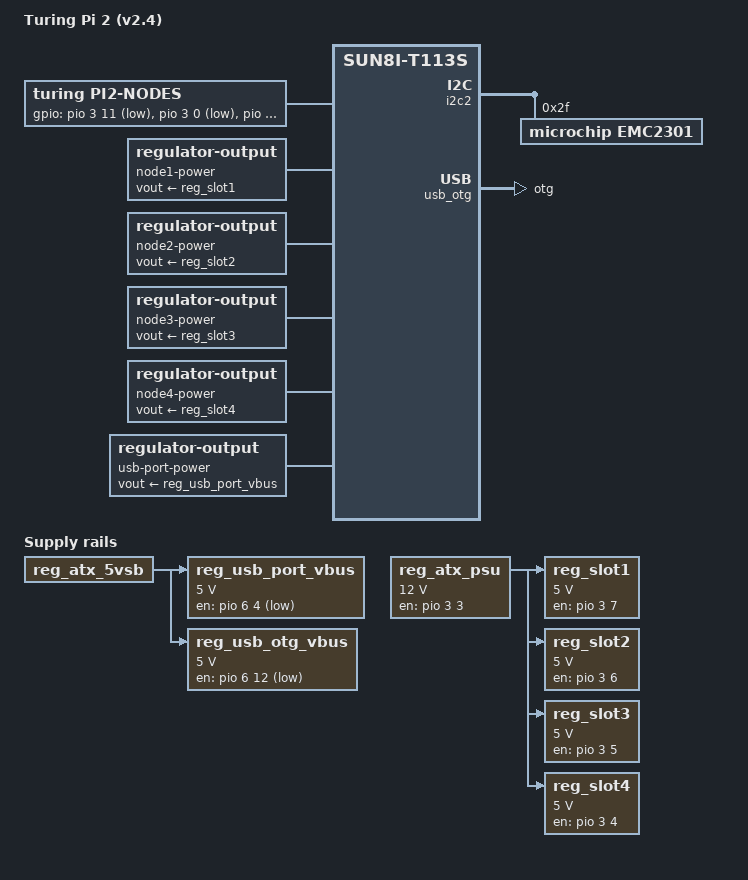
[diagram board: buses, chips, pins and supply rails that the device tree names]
// SPDX-License-Identifier: GPL-2.0+
// Copyright (C) 2024 Sam Edwards <CFSworks@gmail.com>

/dts-v1/;
#include "sun8i-t113s-turing-pi2.dtsi"

/ {
	model = "Turing Pi 2 (v2.4)";
	compatible = "turing,pi2", "allwinner,sun8i-t113s";

	chosen {
		stdout-path = "serial0:115200n8";
	};

	nodes {
		#gpio-cells = <2>;
		compatible = "turing,pi2-nodes";
		gpio-controller;

		gpios = <&pio 3 11 GPIO_ACTIVE_LOW>,	/* node 1 */
			<&pio 3  0 GPIO_ACTIVE_LOW>,	/* PD0  */
			<&pio 3 19 GPIO_ACTIVE_HIGH>,	/* PD19 */
			<&pio 3 15 GPIO_ACTIVE_LOW>,	/* PD15 */
			<&pio 3 10 GPIO_ACTIVE_LOW>,	/* node 2 */
			<&pio 3 20 GPIO_ACTIVE_LOW>,	/* PD20 */
			<&pio 3 18 GPIO_ACTIVE_HIGH>,	/* PD18 */
			<&pio 3 14 GPIO_ACTIVE_LOW>,	/* PD14 */
			<&pio 3  9 GPIO_ACTIVE_LOW>,	/* node 3 */
			<&pio 3 21 GPIO_ACTIVE_LOW>,	/* PD21 */
			<&pio 3 17 GPIO_ACTIVE_HIGH>,	/* PD17 */
			<&pio 3 12 GPIO_ACTIVE_LOW>,	/* PD12 */
			<&pio 3  8 GPIO_ACTIVE_LOW>,	/* node 4 */
			<&pio 3 22 GPIO_ACTIVE_LOW>,	/* PD22 */
			<&pio 3 16 GPIO_ACTIVE_HIGH>,	/* PD16 */
			<&pio 3 13 GPIO_ACTIVE_LOW>;	/* PD13 */

		gpio-line-names = "node1-en", "node1-rst",
				  "node1-usbotg-dev", "node1-rpiboot",
				  "node2-en", "node2-rst",
				  "node2-usbotg-dev", "node2-rpiboot",
				  "node3-en", "node3-rst",
				  "node3-usbotg-dev", "node3-rpiboot",
				  "node4-en", "node4-rst",
				  "node4-usbotg-dev", "node4-rpiboot";
	};

	reg_atx_psu: regulator-atx-psu {
		compatible = "regulator-fixed";

		regulator-name = "atx-psu";
		regulator-min-microvolt = <12000000>;
		regulator-max-microvolt = <12000000>;
		startup-delay-us = <250000>;

		gpio = <&pio 3 3 GPIO_ACTIVE_HIGH>;	/* PD3 */
		enable-active-high;
	};

	reg_slot1: regulator-slot1 {
		compatible = "regulator-fixed";

		regulator-name = "slot1";
		regulator-min-microvolt = <5000000>;
		regulator-max-microvolt = <5000000>;
		startup-delay-us = <100000>;

		gpio = <&pio 3 7 GPIO_ACTIVE_HIGH>;	/* PD7 */
		enable-active-high;

		vin-supply = <&reg_atx_psu>;
	};

	node1-power {
		compatible = "regulator-output";
		vout-supply = <&reg_slot1>;
	};

	reg_slot2: regulator-slot2 {
		compatible = "regulator-fixed";

		regulator-name = "slot2";
		regulator-min-microvolt = <5000000>;
		regulator-max-microvolt = <5000000>;
		startup-delay-us = <100000>;

		gpio = <&pio 3 6 GPIO_ACTIVE_HIGH>;	/* PD6 */
		enable-active-high;

		vin-supply = <&reg_atx_psu>;
	};

	node2-power {
		compatible = "regulator-output";
		vout-supply = <&reg_slot2>;
	};

	reg_slot3: regulator-slot3 {
		compatible = "regulator-fixed";

		regulator-name = "slot3";
		regulator-min-microvolt = <5000000>;
		regulator-max-microvolt = <5000000>;
		startup-delay-us = <100000>;

		gpio = <&pio 3 5 GPIO_ACTIVE_HIGH>;	/* PD5 */
		enable-active-high;

		vin-supply = <&reg_atx_psu>;
	};

	node3-power {
		compatible = "regulator-output";
		vout-supply = <&reg_slot3>;
	};

	reg_slot4: regulator-slot4 {
		compatible = "regulator-fixed";

		regulator-name = "slot4";
		regulator-min-microvolt = <5000000>;
		regulator-max-microvolt = <5000000>;
		startup-delay-us = <100000>;

		gpio = <&pio 3 4 GPIO_ACTIVE_HIGH>;	/* PD4 */
		enable-active-high;

		vin-supply = <&reg_atx_psu>;
	};

	node4-power {
		compatible = "regulator-output";
		vout-supply = <&reg_slot4>;
	};

	reg_usb_port_vbus: regulator-usb-port-vbus {
		compatible = "regulator-fixed";

		regulator-name = "usb-port-vbus";
		regulator-min-microvolt = <5000000>;
		regulator-max-microvolt = <5000000>;
		startup-delay-us = <5000>;

		gpio = <&pio 6 4 GPIO_ACTIVE_LOW>;	/* PG4 */

		vin-supply = <&reg_atx_5vsb>;
	};

	usb-port-power {
		compatible = "regulator-output";
		vout-supply = <&reg_usb_port_vbus>;
	};

	reg_usb_otg_vbus: regulator-usb-otg-vbus {
		compatible = "regulator-fixed";

		regulator-name = "usb-otg-vbus";
		regulator-min-microvolt = <5000000>;
		regulator-max-microvolt = <5000000>;
		startup-delay-us = <5000>;

		gpio = <&pio 6 12 GPIO_ACTIVE_LOW>;	/* PG12 */

		vin-supply = <&reg_atx_5vsb>;
	};
};

&i2c2 {
	/*
	 * The TP2 board design includes a 4-pin fan header (J16) and
	 * SMBus-compatible fan speed controller (U109). They are not populated
	 * on current production boards, but some users choose to solder on a
	 * Molex 47053-1000 and Microchip EMC2301, respectively, to gain this
	 * functionality. This node is here to enable probing for the EMC2301
	 * on boot, even though most boards lack it.
	 */
	emc2301@2f {
		status = "okay";
		compatible = "microchip,emc2301";
		reg = <0x2f>;
	};
};

&usb_otg {
	dr_mode = "otg";
	adp-disable;
	hnp-disable;
	srp-disable;
	usb-role-switch;
};

&usbphy {
	usb0_vbus-supply = <&reg_usb_otg_vbus>;
};
